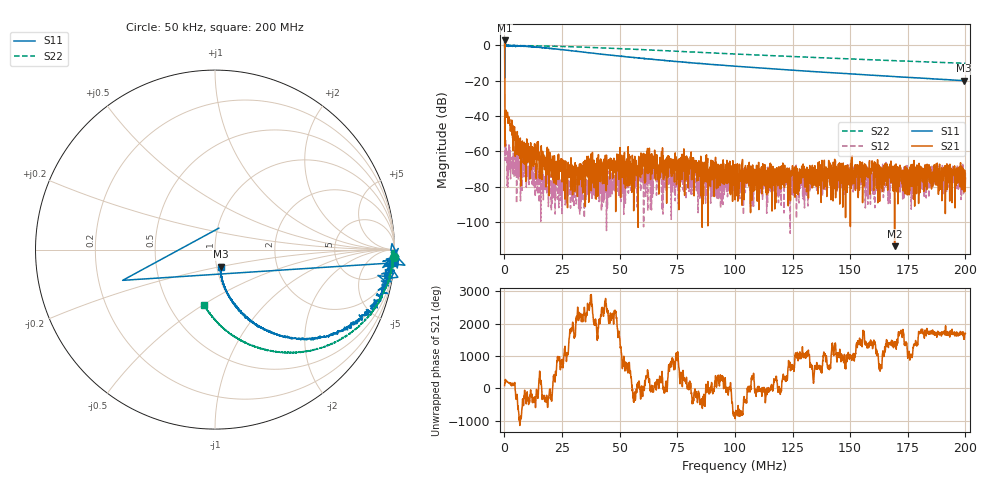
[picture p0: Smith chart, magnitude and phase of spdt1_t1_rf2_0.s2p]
! 26-Feb-26 10:36:53 AM
! E:\VNA_MEASUREMENTS\SPDT1\SPDT1_T1_RF2_0.S2P
! CHANNEL.1
! TR.MEASUREMENT
! CORRECTED.DATA
# GHZ S RI R 50.0
! FREQ.GHZ  S11RE  S11IM  S21RE  S21IM  S12RE  S12IM  S22RE  S22IM
!; PortSelection: Port_12
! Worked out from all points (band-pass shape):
!   2000 points, 50 kHz to 200 MHz, reference 50 ohm
!   highest |S21| = 2.85 dB at 150 kHz (marker M1); lowest = -113.7 dB at 169.3 MHz (marker M2)
!   |S21| within 3 dB of the highest: 65.97 kHz to 155 kHz (89.06 kHz wide, 80.6 % of centre)
!   lowest |S11| = -20.0 dB at 199.4 MHz (marker M3), VSWR 1.22, Z = 52.2 - j10 ohm
!   |S11| at or under -10 dB: 108.1 kHz to 214 kHz (105.9 kHz wide, 65.8 % of centre); 83.15 MHz to end of sweep
!   |S22| runs from -10.1 to 0.0 dB; largest |S21 - S12| = 1.4
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5e-05  -0.3083 -1.155  -0.00453 0.9206  0.00731 -0.00488  0.9948 -0.0418
0.000150025  0.021 0.1194  -1.388 -0.0415  -0.00045 -0.00153  0.9994 0.000265
0.0012503  1.023 -0.0531  -0.0119 -0.00444  4.58e-05 -0.000406  0.9945 -0.0281
0.007151776  0.9096 -0.2253  -0.000785 -0.000956  0.00023 -0.00011  0.9807 -0.1198
0.02215553  0.642 -0.4782  -0.000496 9.25e-05  1.04e-05 -3.94e-05  0.8913 -0.3294
0.0244561  0.5828 -0.4824  6.71e-05 -0.00031  -2.58e-05 -3.15e-05  0.8687 -0.3547
0.02655663  0.5496 -0.4964  0.000422 0.000314  8.32e-05 -6.26e-05  0.849 -0.3774
0.03345835  0.4351 -0.4916  0.000349 -0.000176  9.6e-06 -8.8e-05  0.7825 -0.4442
0.03955988  0.3523 -0.4741  0.000395 -0.000209  -3.18e-05 0.000112  0.721 -0.4882
0.0412603  0.3334 -0.4705  0.000249 -7.85e-05  -4.61e-05 -6.02e-05  0.7 -0.4993
0.04946236  0.2568 -0.4362  0.000133 -0.00042  0.000102 -6.38e-05  0.613 -0.5398
0.05546386  0.2144 -0.4095  0.00017 -0.000753  -5.82e-05 0.000254  0.5529 -0.5575
0.06226556  0.1738 -0.3791  0.000123 0.000198  0.000218 0.000199  0.4861 -0.5687
0.06676668  0.1571 -0.3608  -0.000234 0.000188  -0.000172 -0.000247  0.4466 -0.5748
0.07686921  0.1215 -0.321  0.000274 0.000111  0.000148 -7.07e-05  0.3613 -0.5711
0.08547136  0.0981 -0.29  0.00028 -1.56e-05  -6.46e-05 0.000108  0.2976 -0.5628
0.100075  0.0716 -0.249  -3.65e-05 2.15e-05  9.97e-05 9.18e-05  0.2071 -0.5368
0.1333833  0.0425 -0.1782  -0.000116 -0.000181  0.000232 -0.000121  0.0682 -0.4567
0.1666917  0.0324 -0.1307  0.000316 -0.000121  3.68e-05 1.77e-05  -0.0134 -0.3761
0.1692923  0.0317 -0.1275  -1.6e-06 -1.3e-06  0.000234 -2.67e-05  -0.0172 -0.3692
0.1993998  0.0312 -0.095  -0.000235 -6.72e-05  2.59e-05 -8.42e-05  -0.0609 -0.3078
0.2  0.0313 -0.0951  -2.23e-05 -0.000174  -2.72e-05 -0.000262  -0.0621 -0.3068
